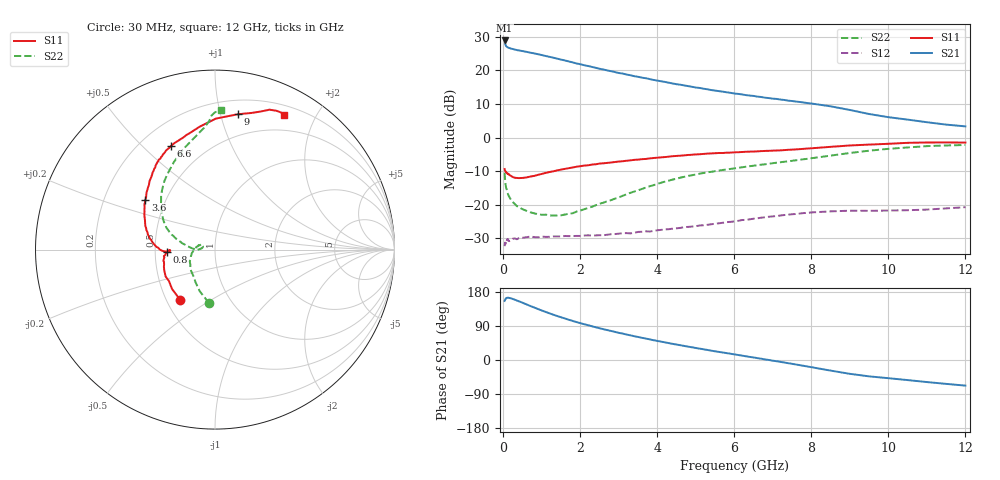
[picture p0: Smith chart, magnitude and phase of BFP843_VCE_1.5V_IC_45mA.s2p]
! Infineon Technologies  Discrete & RF Semiconductors
! BFP843
! VCE =  1.5 V,  IC =  45 mA
! Common Emitter S-Parameters:  Aug 2013
# GHz  S  MA  R  50
!  f  S11  S21  S12  S22
! GHz  MAG  ANG  MAG  ANG  MAG  ANG  MAG  ANG
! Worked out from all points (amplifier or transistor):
!   103 points, 30 MHz to 12 GHz, reference 50 ohm
!   highest |S21| = 28.9 dB at 30 MHz (marker M1)
!   |S21| within 3 dB of that: start of sweep to 414 MHz
!   unconditionally stable (mu >= 1): 49.19 MHz to 10.25 GHz
!   at 400 MHz: K = 1.07, MAG = 26.3 dB, |S12| = -29.9 dB
!   at 3.7 GHz: K = 1.40, MAG = 19.0 dB, |S12| = -27.9 dB
!   at 12 GHz: K = 0.85, MSG = 12.0 dB, |S12| = -20.7 dB
!   S11 on the Smith chart (normalised r, x): 30 MHz: 0.59, -0.37; 800 MHz: 0.58, -0.01; 3.6 GHz: 0.38, +0.28; 6.6 GHz: 0.32, +0.61; 9 GHz: 0.31, +1.13; 12 GHz: 0.31, +1.60
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0.03  0.3406 -124.5  27.87 156.0  0.0243 24.4  0.2999 -96.4
0.04  0.3248 -137.5  25.53 158.0  0.0274 22.2  0.2469 -110.2
0.05  0.3107 -145.6  24.33 160.9  0.0261 30.8  0.2125 -120.6
0.07  0.3061 -157.4  22.89 163.0  0.0301 15.3  0.1793 -137.4
0.1  0.2924 -166.8  22.18 164.3  0.031 15.9  0.1553 -154.8
0.13  0.2854 -171.1  21.78 164.4  0.0291 15.9  0.1392 -165.1
0.6  0.2559 -177.7  18.86 146.7  0.033 7.4  0.0814 159.2
0.8  0.2698 -177.5  17.92 138.5  0.0331 6.4  0.0748 159.4
1  0.289 -178.4  16.89 130.5  0.0337 6.9  0.0711 160.3
1.3  0.3162 178.2  15.42 119.4  0.0339 8.1  0.0694 165.7
1.7  0.3514 173.1  13.57 106.1  0.0343 10.0  0.0738 172.8
2.1  0.3841 167.1  11.93 94.3  0.035 10.4  0.0863 178.6
2.8  0.4271 156.3  9.707 76.5  0.0366 14.1  0.1177 178.3
3.6  0.478 144.3  7.792 58.5  0.0398 17.2  0.1726 170.4
4.1  0.509 137.2  6.88 48.4  0.0425 19.6  0.2138 165.1
5  0.5631 127.0  5.564 31.6  0.0482 19.6  0.2834 157.3
6.1  0.6068 117.9  4.468 13.2  0.0579 18.3  0.356 146.2
6.6  0.6257 113.2  4.074 4.9  0.0632 16.0  0.3892 140.7
8.5  0.7299 89.6  2.921 -28.0  0.08 1.3  0.54 115.0
9  0.7644 80.5  2.577 -36.5  0.0819 -3.5  0.5911 106.8
10.5  0.8367 68.7  1.853 -53.0  0.0832 -11.6  0.7144 92.7
12  0.844 62.8  1.47 -67.6  0.0924 -19.0  0.7766 87.6
